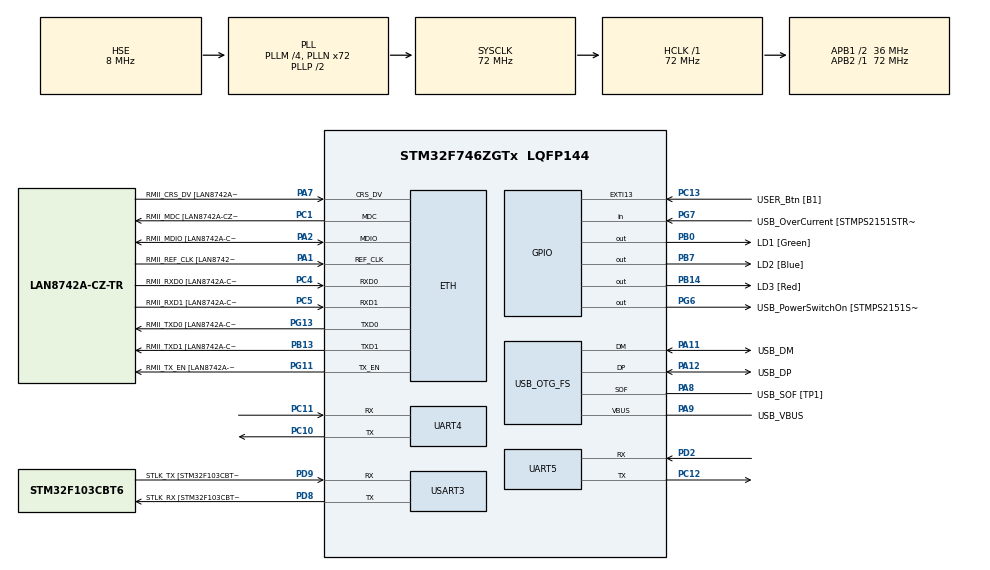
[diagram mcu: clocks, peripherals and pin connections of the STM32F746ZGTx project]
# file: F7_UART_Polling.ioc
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ETH.MediaInterface=HAL_ETH_RMII_MODE
ETH.PHY_Name=LAN8742A_PHY_ADDRESS
ETH.PHY_Value=0
ETH.PhyAddress=0
Mcu.Family=STM32F7
Mcu.Name=STM32F746ZGTx
Mcu.Package=LQFP144
NVIC.PriorityGroup=NVIC_PRIORITYGROUP_4
PA1.GPIO_Label=RMII_REF_CLK [LAN8742A-CZ-TR_REFCLK0]
PA1.Mode=RMII
PA1.Signal=ETH_REF_CLK
PA10.GPIO_Label=USB_ID
PA10.Signal=USB_OTG_FS_ID
PA11.GPIO_Label=USB_DM
PA11.Mode=Device_Only
PA11.Signal=USB_OTG_FS_DM
PA12.GPIO_Label=USB_DP
PA12.Mode=Device_Only
PA12.Signal=USB_OTG_FS_DP
PA13.GPIO_Label=TMS
PA13.Mode=Serial_Wire
PA13.Signal=SYS_JTMS-SWDIO
PA14.GPIO_Label=TCK
PA14.Mode=Serial_Wire
PA14.Signal=SYS_JTCK-SWCLK
PA2.GPIO_Label=RMII_MDIO [LAN8742A-CZ-TR_MDIO]
PA2.Mode=RMII
PA2.Signal=ETH_MDIO
PA7.GPIO_Label=RMII_CRS_DV [LAN8742A-CZ-TR_CRS_DV]
PA7.Mode=RMII
PA7.Signal=ETH_CRS_DV
PA8.GPIO_Label=USB_SOF [TP1]
PA8.Mode=Activate_SOF_FS
PA8.Signal=USB_OTG_FS_SOF
PA9.GPIO_Label=USB_VBUS
PA9.Mode=Activate_VBUS
PA9.Signal=USB_OTG_FS_VBUS
PB0.GPIO_Label=LD1 [Green]
PB0.Signal=GPIO_Output
PB13.GPIO_Label=RMII_TXD1 [LAN8742A-CZ-TR_TXD1]
PB13.Mode=RMII
PB13.Signal=ETH_TXD1
PB14.GPIO_Label=LD3 [Red]
PB14.Signal=GPIO_Output
PB3.GPIO_Label=SW0
PB3.Signal=SYS_JTDO-SWO
PB7.GPIO_Label=LD2 [Blue]
PB7.Signal=GPIO_Output
PC1.GPIO_Label=RMII_MDC [LAN8742A-CZ-TR_MDC]
PC1.Mode=RMII
PC1.Signal=ETH_MDC
PC10.Mode=Asynchronous
PC10.Signal=UART4_TX
PC11.Mode=Asynchronous
PC11.Signal=UART4_RX
PC12.Mode=Asynchronous
PC12.Signal=UART5_TX
PC13.GPIO_Label=USER_Btn [B1]
PC13.Signal=GPXTI13
PC14/OSC32_IN.Mode=LSE-External-Oscillator
PC14/OSC32_IN.Signal=RCC_OSC32_IN
PC15/OSC32_OUT.Mode=LSE-External-Oscillator
PC15/OSC32_OUT.Signal=RCC_OSC32_OUT
PC4.GPIO_Label=RMII_RXD0 [LAN8742A-CZ-TR_RXD0]
PC4.Mode=RMII
PC4.Signal=ETH_RXD0
PC5.GPIO_Label=RMII_RXD1 [LAN8742A-CZ-TR_RXD1]
PC5.Mode=RMII
PC5.Signal=ETH_RXD1
PD2.Mode=Asynchronous
PD2.Signal=UART5_RX
PD8.GPIO_Label=STLK_RX [STM32F103CBT6_PA3]
PD8.GPIO_PuPd=GPIO_PULLUP
PD8.Mode=Asynchronous
PD8.Signal=USART3_TX
PD9.GPIO_Label=STLK_TX [STM32F103CBT6_PA2]
PD9.GPIO_PuPd=GPIO_PULLUP
PD9.Mode=Asynchronous
PD9.Signal=USART3_RX
PG11.GPIO_Label=RMII_TX_EN [LAN8742A-CZ-TR_TXEN]
PG11.Mode=RMII
PG11.Signal=ETH_TX_EN
PG13.GPIO_Label=RMII_TXD0 [LAN8742A-CZ-TR_TXD0]
PG13.Mode=RMII
PG13.Signal=ETH_TXD0
PG6.GPIO_Label=USB_PowerSwitchOn [STMPS2151STR_EN]
PG6.Signal=GPIO_Output
PG7.GPIO_Label=USB_OverCurrent [STMPS2151STR_FAULT]
PG7.Signal=GPIO_Input
PH0/OSC_IN.GPIO_Label=MCO [STM32F103CBT6_PA8]
PH0/OSC_IN.Mode=HSE-External-Clock-Source
PH0/OSC_IN.Signal=RCC_OSC_IN
PH1/OSC_OUT.Mode=HSE-External-Clock-Source
PH1/OSC_OUT.Signal=RCC_OSC_OUT
ProjectManager.HeapSize=0x200
ProjectManager.StackSize=0x400
ProjectManager.TargetToolchain=STM32CubeIDE
RCC.48MHZClocksFreq_Value=24000000
RCC.AHBFreq_Value=72000000
RCC.APB1CLKDivider=RCC_HCLK_DIV2
RCC.APB1Freq_Value=36000000
RCC.APB1TimFreq_Value=72000000
RCC.APB2Freq_Value=72000000
RCC.APB2TimFreq_Value=72000000
RCC.CortexFreq_Value=72000000
RCC.HCLKFreq_Value=72000000
RCC.HSE_VALUE=8000000
RCC.HSI_VALUE=16000000
RCC.PLLM=4
RCC.PLLMUL=RCC_PLL_MUL9
RCC.PLLN=72
RCC.PLLQ=3
RCC.PRESCALERUSB=RCC_USBCLKSOURCE_PLL_DIV1_5
RCC.SYSCLKFreq_VALUE=72000000
RCC.SYSCLKSource=RCC_SYSCLKSOURCE_PLLCLK
RCC.SYSCLKSourceVirtual=RCC_SYSCLKSOURCE_PLLCLK
RCC.USBFreq_Value=48000000
RCC.VCOOutputFreq_Value=144000000
USART3.VirtualMode-Asynchronous=VM_ASYNC
USB_OTG_FS.VirtualMode=Device_Only
board=NUCLEO-F746ZG

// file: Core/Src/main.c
/* USER CODE BEGIN Header */
/**
  ******************************************************************************
  * @file           : main.c
  * @brief          : Main program body
  ******************************************************************************
  * @attention
  *
  * Copyright (c) 2024 STMicroelectronics.
  * All rights reserved.
  *
  * This software is licensed under terms that can be found in the LICENSE file
  * in the root directory of this software component.
  * If no LICENSE file comes with this software, it is provided AS-IS.
  *
  ******************************************************************************
  */
/* USER CODE END Header */
#include "main.h"
#include "string.h"

/* USER CODE BEGIN Includes */
#include "stdio.h"
/* USER CODE END Includes */

#if defined ( __ICCARM__ ) /*!< IAR Compiler */
#pragma location=0x2004c000
ETH_DMADescTypeDef  DMARxDscrTab[ETH_RX_DESC_CNT]; /* Ethernet Rx DMA Descriptors */
#pragma location=0x2004c0a0
ETH_DMADescTypeDef  DMATxDscrTab[ETH_TX_DESC_CNT]; /* Ethernet Tx DMA Descriptors */

#elif defined ( __CC_ARM )  /* MDK ARM Compiler */

__attribute__((at(0x2004c000))) ETH_DMADescTypeDef  DMARxDscrTab[ETH_RX_DESC_CNT]; /* Ethernet Rx DMA Descriptors */
__attribute__((at(0x2004c0a0))) ETH_DMADescTypeDef  DMATxDscrTab[ETH_TX_DESC_CNT]; /* Ethernet Tx DMA Descriptors */

#elif defined ( __GNUC__ ) /* GNU Compiler */
ETH_DMADescTypeDef DMARxDscrTab[ETH_RX_DESC_CNT] __attribute__((section(".RxDecripSection"))); /* Ethernet Rx DMA Descriptors */
ETH_DMADescTypeDef DMATxDscrTab[ETH_TX_DESC_CNT] __attribute__((section(".TxDecripSection")));   /* Ethernet Tx DMA Descriptors */

#endif

ETH_TxPacketConfig TxConfig;

ETH_HandleTypeDef heth;

UART_HandleTypeDef huart4;
UART_HandleTypeDef huart5;
UART_HandleTypeDef huart3;

PCD_HandleTypeDef hpcd_USB_OTG_FS;

/* USER CODE BEGIN PV */
#ifdef __GNUC__
#define PUTCHAR_PROTOTYPE int __io_putchar(int ch)
#else
#define PUTCHAR_PROTOTYPE int fputc(int ch, FILE *f)
#endif /* __GNUC__ */
PUTCHAR_PROTOTYPE
{
	HAL_UART_Transmit(&huart3, (uint8_t *)&ch, 1, HAL_MAX_DELAY); // Исправлено имя структуры UART
	return ch;
}
/* USER CODE END PV */

void SystemClock_Config(void);
static void MX_GPIO_Init(void);
static void MX_ETH_Init(void);
static void MX_USART3_UART_Init(void);
static void MX_USB_OTG_FS_PCD_Init(void);
static void MX_UART4_Init(void);
static void MX_UART5_Init(void);

int main(void)
{

  /* MCU Configuration--------------------------------------------------------*/

  /* Reset of all peripherals, Initializes the Flash interface and the Systick. */
  HAL_Init();

  /* Configure the system clock */
  SystemClock_Config();

  /* Initialize all configured peripherals */
  MX_GPIO_Init();
  MX_ETH_Init();
  MX_USART3_UART_Init();
  MX_USB_OTG_FS_PCD_Init();
  MX_UART4_Init();
  MX_UART5_Init();
  /* USER CODE BEGIN 2 */

	/*
	 Pin PC_10 is configured as UART-TX (port CN8)
	 Pin PC_11 is configured as UART-RX (port CN8)

	 Pin PD_12 is configured as UART-TX (port CN7)
	 Pin PD_2 is configured as UART-RX (port CN8)
	 */
	char msg[15] = "Hello World!";
	char resc_msg;

	HAL_StatusTypeDef status;

  /* USER CODE END 2 */

  /* Infinite loop */
  /* USER CODE BEGIN WHILE */
	while (1) {
		for (uint8_t i = 0; i < strlen(msg); ++i)
		{
			status = HAL_UART_Transmit(&huart4, (uint8_t*) (msg + i), 1, 1000);
			if (status != HAL_OK)
			{
				printf("UART_Receive failed with status: %d\r\n", status);
				printf("[err] could not transmit Uart tx\r\n");
			}

			HAL_Delay(100);

			status = HAL_UART_Receive(&huart5, (uint8_t*) &resc_msg, 1, 1000);
			if (status != HAL_OK)
			{
				printf("UART_Receive failed with status: %d\r\n", status);
				printf("[err] could not receive Uart tx\r\n");
			}

			printf("%c", resc_msg);
		}

		printf("\r\n");
		/* USER CODE END WHILE */

	}
}

void SystemClock_Config(void)
{
  RCC_OscInitTypeDef RCC_OscInitStruct = {0};
  RCC_ClkInitTypeDef RCC_ClkInitStruct = {0};

  /** Configure LSE Drive Capability
  */
  HAL_PWR_EnableBkUpAccess();

  /** Configure the main internal regulator output voltage
  */
  __HAL_RCC_PWR_CLK_ENABLE();
  __HAL_PWR_VOLTAGESCALING_CONFIG(PWR_REGULATOR_VOLTAGE_SCALE3);

  /** Initializes the RCC Oscillators according to the specified parameters
  * in the RCC_OscInitTypeDef structure.
  */
  RCC_OscInitStruct.OscillatorType = RCC_OSCILLATORTYPE_HSE;
  RCC_OscInitStruct.HSEState = RCC_HSE_BYPASS;
  RCC_OscInitStruct.PLL.PLLState = RCC_PLL_ON;
  RCC_OscInitStruct.PLL.PLLSource = RCC_PLLSOURCE_HSE;
  RCC_OscInitStruct.PLL.PLLM = 4;
  RCC_OscInitStruct.PLL.PLLN = 72;
  RCC_OscInitStruct.PLL.PLLP = RCC_PLLP_DIV2;
  RCC_OscInitStruct.PLL.PLLQ = 3;
  if (HAL_RCC_OscConfig(&RCC_OscInitStruct) != HAL_OK)
  {
    Error_Handler();
  }

  /** Initializes the CPU, AHB and APB buses clocks
  */
  RCC_ClkInitStruct.ClockType = RCC_CLOCKTYPE_HCLK|RCC_CLOCKTYPE_SYSCLK
                              |RCC_CLOCKTYPE_PCLK1|RCC_CLOCKTYPE_PCLK2;
  RCC_ClkInitStruct.SYSCLKSource = RCC_SYSCLKSOURCE_PLLCLK;
  RCC_ClkInitStruct.AHBCLKDivider = RCC_SYSCLK_DIV1;
  RCC_ClkInitStruct.APB1CLKDivider = RCC_HCLK_DIV2;
  RCC_ClkInitStruct.APB2CLKDivider = RCC_HCLK_DIV1;

  if (HAL_RCC_ClockConfig(&RCC_ClkInitStruct, FLASH_LATENCY_2) != HAL_OK)
  {
    Error_Handler();
  }
}

static void MX_ETH_Init(void)
{

   static uint8_t MACAddr[6];

  heth.Instance = ETH;
  MACAddr[0] = 0x00;
  MACAddr[1] = 0x80;
  MACAddr[2] = 0xE1;
  MACAddr[3] = 0x00;
  MACAddr[4] = 0x00;
  MACAddr[5] = 0x00;
  heth.Init.MACAddr = &MACAddr[0];
  heth.Init.MediaInterface = HAL_ETH_RMII_MODE;
  heth.Init.TxDesc = DMATxDscrTab;
  heth.Init.RxDesc = DMARxDscrTab;
  heth.Init.RxBuffLen = 1524;

  if (HAL_ETH_Init(&heth) != HAL_OK)
  {
    Error_Handler();
  }

  memset(&TxConfig, 0 , sizeof(ETH_TxPacketConfig));
  TxConfig.Attributes = ETH_TX_PACKETS_FEATURES_CSUM | ETH_TX_PACKETS_FEATURES_CRCPAD;
  TxConfig.ChecksumCtrl = ETH_CHECKSUM_IPHDR_PAYLOAD_INSERT_PHDR_CALC;
  TxConfig.CRCPadCtrl = ETH_CRC_PAD_INSERT;

}

static void MX_UART4_Init(void)
{

  huart4.Instance = UART4;
  huart4.Init.BaudRate = 115200;
  huart4.Init.WordLength = UART_WORDLENGTH_8B;
  huart4.Init.StopBits = UART_STOPBITS_1;
  huart4.Init.Parity = UART_PARITY_NONE;
  huart4.Init.Mode = UART_MODE_TX_RX;
  huart4.Init.HwFlowCtl = UART_HWCONTROL_NONE;
  huart4.Init.OverSampling = UART_OVERSAMPLING_16;
  huart4.Init.OneBitSampling = UART_ONE_BIT_SAMPLE_DISABLE;
  huart4.AdvancedInit.AdvFeatureInit = UART_ADVFEATURE_NO_INIT;
  if (HAL_UART_Init(&huart4) != HAL_OK)
  {
    Error_Handler();
  }

}

static void MX_UART5_Init(void)
{

  huart5.Instance = UART5;
  huart5.Init.BaudRate = 115200;
  huart5.Init.WordLength = UART_WORDLENGTH_8B;
  huart5.Init.StopBits = UART_STOPBITS_1;
  huart5.Init.Parity = UART_PARITY_NONE;
  huart5.Init.Mode = UART_MODE_TX_RX;
  huart5.Init.HwFlowCtl = UART_HWCONTROL_NONE;
  huart5.Init.OverSampling = UART_OVERSAMPLING_16;
  huart5.Init.OneBitSampling = UART_ONE_BIT_SAMPLE_DISABLE;
  huart5.AdvancedInit.AdvFeatureInit = UART_ADVFEATURE_NO_INIT;
  if (HAL_UART_Init(&huart5) != HAL_OK)
  {
    Error_Handler();
  }

}

static void MX_USART3_UART_Init(void)
{

  huart3.Instance = USART3;
  huart3.Init.BaudRate = 115200;
  huart3.Init.WordLength = UART_WORDLENGTH_8B;
  huart3.Init.StopBits = UART_STOPBITS_1;
  huart3.Init.Parity = UART_PARITY_NONE;
  huart3.Init.Mode = UART_MODE_TX_RX;
  huart3.Init.HwFlowCtl = UART_HWCONTROL_NONE;
  huart3.Init.OverSampling = UART_OVERSAMPLING_16;
  huart3.Init.OneBitSampling = UART_ONE_BIT_SAMPLE_DISABLE;
  huart3.AdvancedInit.AdvFeatureInit = UART_ADVFEATURE_NO_INIT;
  if (HAL_UART_Init(&huart3) != HAL_OK)
  {
    Error_Handler();
  }

}

static void MX_USB_OTG_FS_PCD_Init(void)
{

  hpcd_USB_OTG_FS.Instance = USB_OTG_FS;
  hpcd_USB_OTG_FS.Init.dev_endpoints = 6;
  hpcd_USB_OTG_FS.Init.speed = PCD_SPEED_FULL;
  hpcd_USB_OTG_FS.Init.dma_enable = DISABLE;
  hpcd_USB_OTG_FS.Init.phy_itface = PCD_PHY_EMBEDDED;
  hpcd_USB_OTG_FS.Init.Sof_enable = ENABLE;
  hpcd_USB_OTG_FS.Init.low_power_enable = DISABLE;
  hpcd_USB_OTG_FS.Init.lpm_enable = DISABLE;
  hpcd_USB_OTG_FS.Init.vbus_sensing_enable = ENABLE;
  hpcd_USB_OTG_FS.Init.use_dedicated_ep1 = DISABLE;
  if (HAL_PCD_Init(&hpcd_USB_OTG_FS) != HAL_OK)
  {
    Error_Handler();
  }

}

static void MX_GPIO_Init(void)
{
  GPIO_InitTypeDef GPIO_InitStruct = {0};

  /* GPIO Ports Clock Enable */
  __HAL_RCC_GPIOC_CLK_ENABLE();
  __HAL_RCC_GPIOH_CLK_ENABLE();
  __HAL_RCC_GPIOA_CLK_ENABLE();
  __HAL_RCC_GPIOB_CLK_ENABLE();
  __HAL_RCC_GPIOD_CLK_ENABLE();
  __HAL_RCC_GPIOG_CLK_ENABLE();

  /*Configure GPIO pin Output Level */
  HAL_GPIO_WritePin(GPIOB, LD1_Pin|LD3_Pin|LD2_Pin, GPIO_PIN_RESET);

  /*Configure GPIO pin Output Level */
  HAL_GPIO_WritePin(USB_PowerSwitchOn_GPIO_Port, USB_PowerSwitchOn_Pin, GPIO_PIN_RESET);

  /*Configure GPIO pin : USER_Btn_Pin */
  GPIO_InitStruct.Pin = USER_Btn_Pin;
  GPIO_InitStruct.Mode = GPIO_MODE_IT_RISING;
  GPIO_InitStruct.Pull = GPIO_NOPULL;
  HAL_GPIO_Init(USER_Btn_GPIO_Port, &GPIO_InitStruct);

  /*Configure GPIO pins : LD1_Pin LD3_Pin LD2_Pin */
  GPIO_InitStruct.Pin = LD1_Pin|LD3_Pin|LD2_Pin;
  GPIO_InitStruct.Mode = GPIO_MODE_OUTPUT_PP;
  GPIO_InitStruct.Pull = GPIO_NOPULL;
  GPIO_InitStruct.Speed = GPIO_SPEED_FREQ_LOW;
  HAL_GPIO_Init(GPIOB, &GPIO_InitStruct);

  /*Configure GPIO pin : USB_PowerSwitchOn_Pin */
  GPIO_InitStruct.Pin = USB_PowerSwitchOn_Pin;
  GPIO_InitStruct.Mode = GPIO_MODE_OUTPUT_PP;
  GPIO_InitStruct.Pull = GPIO_NOPULL;
  GPIO_InitStruct.Speed = GPIO_SPEED_FREQ_LOW;
  HAL_GPIO_Init(USB_PowerSwitchOn_GPIO_Port, &GPIO_InitStruct);

  /*Configure GPIO pin : USB_OverCurrent_Pin */
  GPIO_InitStruct.Pin = USB_OverCurrent_Pin;
  GPIO_InitStruct.Mode = GPIO_MODE_INPUT;
  GPIO_InitStruct.Pull = GPIO_NOPULL;
  HAL_GPIO_Init(USB_OverCurrent_GPIO_Port, &GPIO_InitStruct);

}

void Error_Handler(void)
{
  __disable_irq();
  while (1)
  {
  }
}
